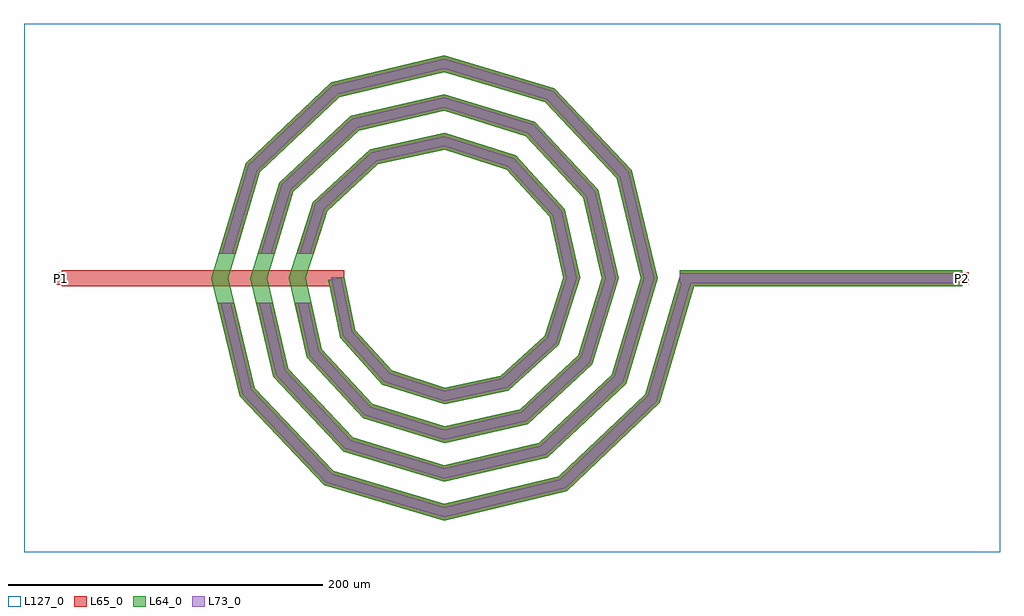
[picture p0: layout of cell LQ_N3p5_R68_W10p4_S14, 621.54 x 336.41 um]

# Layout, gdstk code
import gdstk
lib = gdstk.Library(unit=1e-6, precision=1e-09)
def R(c, l, rs):  # rectangles x0, y0, x1, y1
    for r in rs: c.add(gdstk.rectangle(r[:2], r[2:], *l))
def P(c, l, *ps):  # polygons
    for p in ps: c.add(gdstk.Polygon(p, *l))
L64_0 = (64, 0)
L65_0 = (65, 0)
L73_0 = (73, 0)
L127_0 = (127, 0)

lq_n3p5_r68_w10p4_s14 = lib.new_cell('LQ_N3p5_R68_W10p4_S14')
R(lq_n3p5_r68_w10p4_s14, L64_0, [(149.961,-5.2,329.961,5.2)])
P(lq_n3p5_r68_w10p4_s14, L64_0, [(-56.545,-32.983),(-33.513,-58.613),(0.275,-69.573),(36.047,-61.899),(63.944,-36.617),(75.742,0.254),(67.252,39.114),(39.718,69.278),(0.237,81.912),(-42.184,72.603),(-74.612,42.817),(-88.081,0.221),(-77.953,-45.256),(-45.914,-79.948),(0.207,-94.251),(48.329,-83.303),(85.285,-49.009),(100.42,0.195),(88.652,51.404),(52.104,90.623),(0.184,106.59),(-54.48,94),(-95.961,55.198),(-112.76,0.175),(-99.348,-57.557),(-58.29,-101.299),(0.166,-118.93),(60.635,-104.695),(106.639,-61.382),(125.099,0.158),(110.042,63.713),(64.473,111.978),(0.151,131.269),(-66.792,115.389),(-117.318,67.564),(-137.439,0.145),(-120.736,-69.871),(-70.654,-122.658),(0.139,-143.609),(72.951,-126.082),(127.999,-73.744),(150.173,1.47),(160.149,-1.47),(137.186,-79.36),(78.096,-135.54),(0.139,-154.373),(-76.28,-131.839),(-130.2,-75.006),(-148.203,0.145),(-126.493,73.2),(-71.916,124.859),(0.151,142.033),(70.121,121.146),(119.519,68.825),(135.862,0.158),(115.799,-67.042),(65.733,-114.18),(0.166,-129.692),(-63.964,-110.451),(-108.84,-62.64),(-123.522,0.175),(-105.103,60.887),(-59.547,103.501),(0.184,117.352),(57.81,99.754),(98.163,56.453),(111.181,0.195),(94.405,-54.735),(53.358,-92.825),(0.207,-105.011),(-51.66,-89.055),(-87.488,-50.261),(-98.84,0.221),(-83.704,48.587),(-47.163,82.151),(0.237,92.67),(45.516,78.352),(76.816,44.063),(86.499,0.254),(72.998,-42.447),(40.96,-71.482),(0.275,-80.328),(-39.381,-67.643),(-66.149,-37.855),(-73.87,-1.068),(-63.691,1.068)])
R(lq_n3p5_r68_w10p4_s14, L65_0, [(-243.581,-5.2,-63.581,5.2), (149.961,-5.2,329.961,5.2), (-247.581,-4,-239.581,4), (325.961,-4,333.961,4)])
P(lq_n3p5_r68_w10p4_s14, L65_0, [(-120.736,-69.871),(-70.655,-122.658),(0.139,-143.609),(72.951,-126.082),(127.999,-73.744),(150.173,1.471),(160.149,-1.471),(137.186,-79.36),(78.096,-135.54),(0.139,-154.373),(-76.28,-131.839),(-130.2,-75.006),(-144.431,-15.6),(-133.737,-15.6)],
  [(-99.348,-57.557),(-58.29,-101.299),(0.166,-118.93),(60.635,-104.695),(106.639,-61.382),(125.099,0.158),(110.042,63.713),(64.473,111.978),(0.151,131.269),(-66.792,115.389),(-117.318,67.564),(-132.76,15.6),(-143.61,15.6),(-126.493,73.2),(-71.916,124.859),(0.151,142.033),(70.121,121.146),(119.519,68.825),(135.862,0.158),(115.799,-67.042),(65.733,-114.18),(0.166,-129.692),(-63.964,-110.451),(-108.84,-62.641),(-119.835,-15.6),(-109.155,-15.6)],
  [(-77.953,-45.256),(-45.914,-79.948),(0.207,-94.251),(48.33,-83.303),(85.285,-49.01),(100.42,0.195),(88.652,51.404),(52.104,90.623),(0.184,106.59),(-54.48,94),(-95.961,55.198),(-107.974,15.6),(-118.842,15.6),(-105.103,60.887),(-59.547,103.501),(0.184,117.352),(57.81,99.754),(98.163,56.453),(111.181,0.195),(94.405,-54.735),(53.358,-92.825),(0.207,-105.011),(-51.66,-89.055),(-87.488,-50.261),(-95.282,-15.6),(-84.623,-15.6)],
  [(-33.513,-58.613),(0.275,-69.573),(36.047,-61.899),(63.945,-36.617),(75.742,0.255),(67.252,39.114),(39.718,69.278),(0.237,81.912),(-42.184,72.603),(-74.613,42.817),(-83.13,15.6),(-94.027,15.6),(-83.704,48.587),(-47.163,82.151),(0.237,92.67),(45.516,78.352),(76.816,44.063),(86.499,0.255),(72.998,-42.447),(40.96,-71.482),(0.275,-80.328),(-39.381,-67.643),(-66.149,-37.855),(-73.87,-1.068),(-63.692,1.068),(-56.545,-32.983)])
R(lq_n3p5_r68_w10p4_s14, L73_0, [(149.961,-3.2,329.961,3.2)])
P(lq_n3p5_r68_w10p4_s14, L73_0, [(-122.556,-70.859),(-71.736,-124.424),(0.085,-145.679),(73.941,-127.901),(129.765,-74.824),(152.092,0.905),(158.23,0.905),(135.419,-78.28),(77.107,-133.721),(0.085,-152.303),(-75.198,-130.074),(-128.38,-74.019),(-142.374,-15.6),(-135.793,-15.6)],
  [(-101.173,-58.535),(-59.381,-103.059),(0.102,-120.999),(61.615,-106.519),(108.4,-62.471),(127.169,0.097),(111.865,64.696),(65.56,113.741),(0.093,133.339),(-67.777,117.21),(-119.082,68.648),(-134.847,15.6),(-141.523,15.6),(-124.728,72.116),(-70.93,123.038),(0.093,139.963),(69.035,119.383),(117.697,67.842),(133.793,0.097),(114.037,-65.954),(64.752,-112.356),(0.102,-127.622),(-62.873,-108.691),(-107.015,-61.663),(-117.781,-15.6),(-111.208,-15.6)],
  [(-79.787,-46.219),(-47.019,-81.7),(0.128,-96.32),(49.297,-85.134),(87.039,-50.111),(102.49,0.12),(90.481,52.375),(53.201,92.379),(0.114,108.66),(-55.455,95.827),(-97.719,56.292),(-110.064,15.6),(-116.752,15.6),(-103.345,59.793),(-58.573,101.674),(0.114,115.282),(56.713,97.998),(96.334,55.482),(109.112,0.12),(92.651,-53.634),(52.391,-90.994),(0.128,-102.942),(-50.555,-87.304),(-85.654,-49.299),(-93.232,-15.6),(-86.673,-15.6)],
  [(-34.642,-60.35),(0.17,-71.642),(36.992,-63.742),(65.686,-37.738),(77.811,0.157),(69.091,40.066),(40.833,71.023),(0.146,83.981),(-43.142,74.439),(-76.361,43.926),(-85.226,15.6),(-91.932,15.6),(-81.956,47.478),(-46.206,80.315),(0.146,90.601),(44.401,76.607),(74.977,43.111),(84.43,0.157),(71.257,-41.326),(40.016,-69.639),(0.17,-78.26),(-38.252,-65.907),(-64.302,-36.918),(-71.912,0.657),(-65.649,0.657),(-58.392,-33.92)])
R(lq_n3p5_r68_w10p4_s14, L127_0, [(-267.581,-174.373,353.961,162.033)])
lq_n3p5_r68_w10p4_s14.add(gdstk.Label('P2', (329.961,0), layer=65, texttype=0))
lq_n3p5_r68_w10p4_s14.add(gdstk.Label('P1', (-243.581,0), layer=65, texttype=0))
lq_n3p5_r68_w10p4_s14.add(gdstk.Label('P2', (333.961,0), layer=145, texttype=0))
lq_n3p5_r68_w10p4_s14.add(gdstk.Label('P1', (-247.581,0), layer=145, texttype=0))

lib.write_gds('LQ_N3p5_R68_W10p4_S14.gds')
